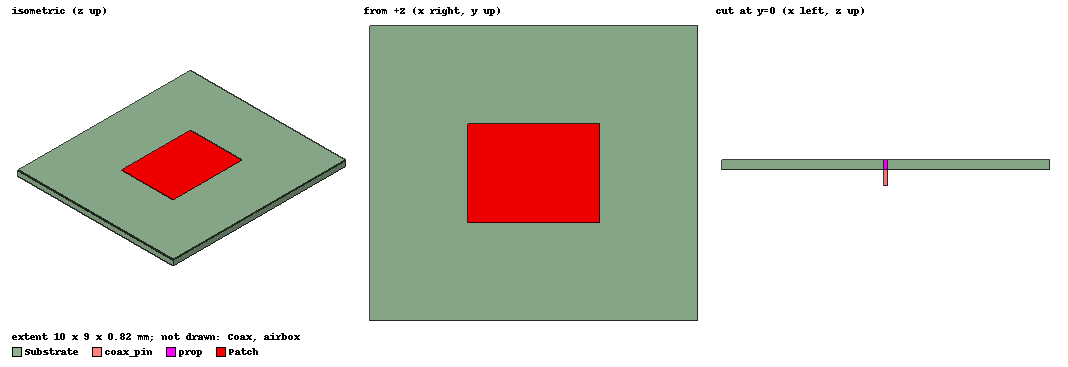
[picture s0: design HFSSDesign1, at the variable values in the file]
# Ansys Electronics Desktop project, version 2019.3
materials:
  Rogers RO4003 (tm): permittivity=3.55 dielectric_loss_tangent=0.0027
  pec: conductivity=1e+30
  vacuum: permittivity=1
  Rogers RT/duroid 5870 (tm): permittivity=2.33 dielectric_loss_tangent=0.0012

design HFSSDesign1 (HFSS, DrivenModal, model units mm)
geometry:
  Substrate [Rogers RT/duroid 5870 (tm)] = box(corner=(-5mm, -4.5mm, 0mm), size=(10mm, 9mm, 0.32mm))
  Ground = rectangle(corner=(-5mm, -4.5mm, 0mm), x_size=10mm, y_size=9mm)
  Hole = circle(normal=Z, centre=(0mm, 0mm, 0mm), radius=0.16mm)
  Ground.subtract(Hole)
  Patch = rectangle(corner=(-2mm, -1.5mm, 0.32mm), x_size=4mm, y_size=3mm)
  Coax [vacuum] = cylinder(axis=Z, base_centre=(0mm, 0mm, 0mm), radius=0.16mm, height=-0.5mm)
  coax_pin [pec] = cylinder(axis=Z, base_centre=(0mm, 0mm, 0mm), radius=0.07mm, height=-0.5mm)
  prop [pec] = cylinder(axis=Z, base_centre=(0mm, 0mm, 0mm), radius=0.07mm, height=0.32mm)
  port1 = circle(normal=Z, centre=(0mm, 0mm, -0.5mm), radius=0.16mm)
  airbox [vacuum] = box(corner=(-5mm, -4.5mm, 0mm), size=(10mm, 9mm, 2.23mm))
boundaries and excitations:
  PerfE1: Perfect E Objects=Ground
  PerfE2: Perfect E Objects=Patch
  Rad1: Radiation Faces=airbox.face(+z, +y, +x, -y, -x)
  1: Wave Port Objects=port1 NumModes=1 Modes{Mode1{CharImp=Zpi}}
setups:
  Setup1: HfssDriven Frequency=2.3GHz MaxDeltaS=0.02 MaximumPasses=20 MinimumPasses=1 MinimumConvergedPasses=1 PercentRefinement=30 BasisOrder=1 PortAccuracy=2
    sweep Sweep: 2.2GHz to 2.5GHz, 101 points; Type=Fast SaveFields
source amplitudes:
  1:1: 1W 0deg
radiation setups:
  Infinite Sphere1: Infinite Sphere Theta=0deg..180deg step 2deg Phi=-180deg..180deg step 2deg
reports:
  S Parameter Plot 1: S(1,1) on Setup1 : Sweep [Freq=all]
  S Parameter Plot 2: dB(S(1,1)) vs Freq on Setup1 : Sweep
